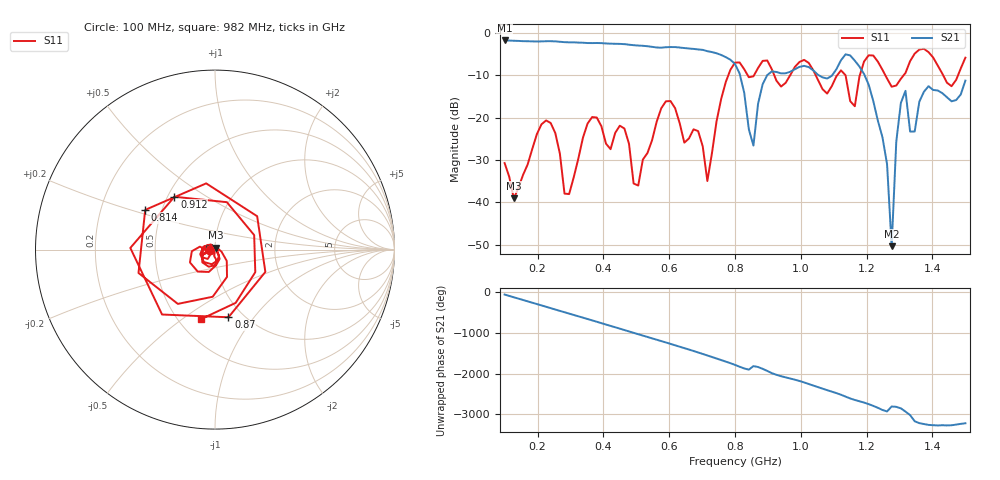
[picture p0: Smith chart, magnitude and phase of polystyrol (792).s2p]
! NanoVNA-App
! Date: 2025-09-25 15:36:03
! Start: 100MHz Stop: 1,5GHz Points: 101
! S-Parameter data: F S11 S21 S12 S22
# Hz S RI R 50
!  Frequency  S11_Real  S11_Imag  S21_Real  S21_Imag  S12_Real  S12_Imag  S22_Real  S22_Imag
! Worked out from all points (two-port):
!   101 points, 100 MHz to 1.5 GHz, reference 50 ohm
!   highest |S21| = -1.80 dB at 100 MHz (marker M1); lowest = -50.3 dB at 1.276 GHz (marker M2)
!   |S21| within 3 dB of the highest: start of sweep to 743 MHz
!   lowest |S11| = -39.1 dB at 128 MHz (marker M3), VSWR 1.02, Z = 50.3 + j1.07 ohm
!   |S11| at or under -10 dB: start of sweep to 779.8 MHz; 1.045 GHz to 1.111 GHz (65.39 MHz wide, 6.07 % of centre); 1.136 GHz to 1.179 GHz (43.57 MHz wide, 3.76 % of centre) (the widest 3 of 7)
!   S12 and S22 are empty: the file has one direction only
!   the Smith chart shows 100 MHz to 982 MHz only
!   S11 on the Smith chart (normalised r, x): 100 MHz: 0.94, -0.01; 814 MHz: 0.40, +0.22; 870 MHz: 0.85, -0.76; 912 MHz: 0.54, +0.37; 982 MHz: 0.64, -0.59
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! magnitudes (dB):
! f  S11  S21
! 100 MHz  -30.7  -1.8
! 128 MHz  -39.1  -1.9
! 212 MHz  -21.6  -2.0
! 282 MHz  -37.9  -2.2
! 338 MHz  -24.7  -2.3
! 464 MHz  -22.6  -2.7
! 506 MHz  -36.0  -3.0
! 576 MHz  -17.8  -3.5
! 716 MHz  -35.0  -4.3
! 800 MHz  -7.0  -7.3
! 814 MHz  -7.0  -9.6
! 856 MHz  -10.3  -26.6
! 870 MHz  -8.3  -16.8
! 912 MHz  -8.6  -9.1
! 982 MHz  -8.0  -8.6
! 1.038 GHz  -8.8  -8.9
! 1.192 GHz  -6.8  -9.7
! 1.262 GHz  -10.8  -31.0
! 1.276 GHz  -12.7  -50.3
! 1.29 GHz  -12.4  -25.7
! 1.318 GHz  -9.5  -13.7
! 1.5 GHz  -5.9  -11.3
